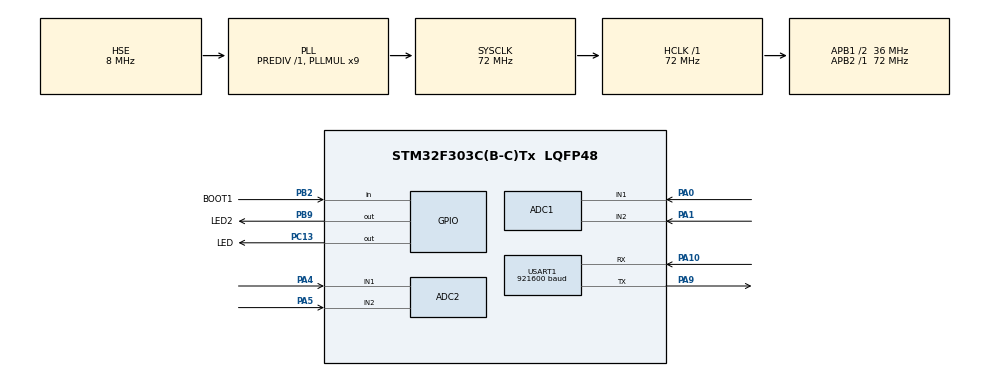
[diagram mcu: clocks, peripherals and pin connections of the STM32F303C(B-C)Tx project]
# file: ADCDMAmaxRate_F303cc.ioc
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ADC1.Channel-0\#ChannelRegularConversion=ADC_CHANNEL_1
ADC1.ContinuousConvMode=ENABLE
ADC1.DMAContinuousRequests=ENABLE
ADC1.EOCSelection=ADC_EOC_SINGLE_CONV
ADC1.EnableInjectedConversion=DISABLE
ADC1.NbrOfConversion=1
ADC1.NbrOfConversionFlag=1
ADC1.Offset-0\#ChannelRegularConversion=0
ADC1.OffsetNumber-0\#ChannelRegularConversion=ADC_OFFSET_NONE
ADC1.Rank-0\#ChannelRegularConversion=1
ADC1.SamplingTime-0\#ChannelRegularConversion=ADC_SAMPLETIME_1CYCLE_5
ADC1.SequencerNbRanks=1
ADC1.SingleDiff-0\#ChannelRegularConversion=ADC_DIFFERENTIAL_ENDED
ADC1.master=1
ADC2.Channel-0\#ChannelRegularConversion=ADC_CHANNEL_1
ADC2.ContinuousConvMode=ENABLE
ADC2.DMAContinuousRequests=ENABLE
ADC2.EnableInjectedConversion=DISABLE
ADC2.NbrOfConversionFlag=1
ADC2.Offset-0\#ChannelRegularConversion=0
ADC2.OffsetNumber-0\#ChannelRegularConversion=ADC_OFFSET_NONE
ADC2.Rank-0\#ChannelRegularConversion=1
ADC2.SamplingTime-0\#ChannelRegularConversion=ADC_SAMPLETIME_1CYCLE_5
ADC2.SingleDiff-0\#ChannelRegularConversion=ADC_DIFFERENTIAL_ENDED
Dma.ADC1.1.Direction=DMA_PERIPH_TO_MEMORY
Dma.ADC1.1.Instance=DMA1_Channel1
Dma.ADC1.1.MemDataAlignment=DMA_MDATAALIGN_HALFWORD
Dma.ADC1.1.MemInc=DMA_MINC_ENABLE
Dma.ADC1.1.Mode=DMA_CIRCULAR
Dma.ADC1.1.PeriphDataAlignment=DMA_PDATAALIGN_HALFWORD
Dma.ADC1.1.PeriphInc=DMA_PINC_DISABLE
Dma.ADC1.1.Priority=DMA_PRIORITY_HIGH
Dma.ADC2.2.Direction=DMA_PERIPH_TO_MEMORY
Dma.ADC2.2.Instance=DMA2_Channel1
Dma.ADC2.2.MemDataAlignment=DMA_MDATAALIGN_HALFWORD
Dma.ADC2.2.MemInc=DMA_MINC_ENABLE
Dma.ADC2.2.Mode=DMA_CIRCULAR
Dma.ADC2.2.PeriphDataAlignment=DMA_PDATAALIGN_HALFWORD
Dma.ADC2.2.PeriphInc=DMA_PINC_DISABLE
Dma.ADC2.2.Priority=DMA_PRIORITY_LOW
Dma.Request0=USART1_TX
Dma.Request1=ADC1
Dma.Request2=ADC2
Dma.USART1_TX.0.Direction=DMA_MEMORY_TO_PERIPH
Dma.USART1_TX.0.Instance=DMA1_Channel4
Dma.USART1_TX.0.MemDataAlignment=DMA_MDATAALIGN_BYTE
Dma.USART1_TX.0.MemInc=DMA_MINC_ENABLE
Dma.USART1_TX.0.Mode=DMA_NORMAL
Dma.USART1_TX.0.PeriphDataAlignment=DMA_PDATAALIGN_BYTE
Dma.USART1_TX.0.PeriphInc=DMA_PINC_DISABLE
Dma.USART1_TX.0.Priority=DMA_PRIORITY_LOW
Mcu.Family=STM32F3
Mcu.Name=STM32F303C(B-C)Tx
Mcu.Package=LQFP48
NVIC.DMA1_Channel1_IRQn=true\:0\:0\:false\:false\:true\:false\:true\:true
NVIC.DMA1_Channel4_IRQn=true\:0\:0\:false\:false\:true\:false\:true\:true
NVIC.DMA2_Channel1_IRQn=true\:0\:0\:false\:false\:true\:false\:true\:true
NVIC.PriorityGroup=NVIC_PRIORITYGROUP_4
PA0.Mode=IN1-Differential
PA0.Signal=ADC1_IN1
PA1.Mode=IN1-Differential
PA1.Signal=ADC1_IN2
PA10.Mode=Asynchronous
PA10.Signal=USART1_RX
PA13.GPIO_Label=SWDIO
PA13.Mode=Serial_Wire
PA13.Signal=SYS_JTMS-SWDIO
PA14.GPIO_Label=SWCLK
PA14.Mode=Serial_Wire
PA14.Signal=SYS_JTCK-SWCLK
PA4.Mode=IN1-Differential
PA4.Signal=ADC2_IN1
PA5.Mode=IN1-Differential
PA5.Signal=ADC2_IN2
PA9.Mode=Asynchronous
PA9.Signal=USART1_TX
PB2.GPIO_Label=BOOT1
PB2.Signal=GPIO_Input
PB9.GPIO_Label=LED2
PB9.GPIO_Speed=GPIO_SPEED_FREQ_LOW
PB9.PinState=GPIO_PIN_SET
PB9.Signal=GPIO_Output
PC13.GPIO_Label=LED
PC13.PinState=GPIO_PIN_SET
PC13.Signal=GPIO_Output
PF0-OSC_IN.Mode=HSE-External-Oscillator
PF0-OSC_IN.Signal=RCC_OSC_IN
PF1-OSC_OUT.Mode=HSE-External-Oscillator
PF1-OSC_OUT.Signal=RCC_OSC_OUT
ProjectManager.HeapSize=0x200
ProjectManager.StackSize=0x400
ProjectManager.TargetToolchain=STM32CubeIDE
RCC.AHBFreq_Value=72000000
RCC.APB1CLKDivider=RCC_HCLK_DIV2
RCC.APB1Freq_Value=36000000
RCC.APB1TimFreq_Value=72000000
RCC.APB2Freq_Value=72000000
RCC.APB2TimFreq_Value=72000000
RCC.CortexFreq_Value=72000000
RCC.EnbaleCSS=true
RCC.HCLKFreq_Value=72000000
RCC.HSE_VALUE=8000000
RCC.HSI_VALUE=8000000
RCC.LSE_VALUE=32768
RCC.PLLMUL=RCC_PLL_MUL9
RCC.PLLSourceVirtual=RCC_PLLSOURCE_HSE
RCC.PRESCALERUSB=RCC_USBCLKSOURCE_PLL_DIV1_5
RCC.SYSCLKFreq_VALUE=72000000
RCC.SYSCLKSourceVirtual=RCC_SYSCLKSOURCE_PLLCLK
RCC.USBFreq_Value=48000000
USART1.BaudRate=921600
USART1.Mode=MODE_TX
USART1.VirtualMode-Asynchronous=VM_ASYNC
board=custom

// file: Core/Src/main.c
/* USER CODE BEGIN Header */
/**
  ******************************************************************************
  * @file           : main.c
  * @brief          : Main program body
  ******************************************************************************
  * @attention
  *
  * Copyright (c) 2022 STMicroelectronics.
  * All rights reserved.
  *
  * This software is licensed under terms that can be found in the LICENSE file
  * in the root directory of this software component.
  * If no LICENSE file comes with this software, it is provided AS-IS.
  *
  ******************************************************************************
  */
/* USER CODE END Header */
#include "main.h"

ADC_HandleTypeDef hadc1;
ADC_HandleTypeDef hadc2;
DMA_HandleTypeDef hdma_adc1;
DMA_HandleTypeDef hdma_adc2;

UART_HandleTypeDef huart1;
DMA_HandleTypeDef hdma_usart1_tx;

/* USER CODE BEGIN PV */
#define ADC_HBUF_SIZE (500)
#define ADC_BUF_SIZE (2*ADC_HBUF_SIZE)

uint16_t adc1_buf[ADC_BUF_SIZE];
uint16_t adc2_buf[ADC_BUF_SIZE];
volatile uint8_t adc1_buf_full_flag = 0;
volatile uint8_t adc2_buf_full_flag = 0;
uint16_t adc1_buf_circ_cnt = 0;
uint16_t adc2_buf_circ_cnt = 0;

/* USER CODE END PV */

void SystemClock_Config(void);
static void MX_GPIO_Init(void);
static void MX_DMA_Init(void);
static void MX_ADC1_Init(void);
static void MX_ADC2_Init(void);
static void MX_USART1_UART_Init(void);

int main(void)
{

  /* MCU Configuration--------------------------------------------------------*/

  /* Reset of all peripherals, Initializes the Flash interface and the Systick. */
  HAL_Init();

  /* Configure the system clock */
  SystemClock_Config();

  /* Initialize all configured peripherals */
  MX_GPIO_Init();
  MX_DMA_Init();
  MX_ADC1_Init();
  MX_ADC2_Init();
  MX_USART1_UART_Init();
  /* USER CODE BEGIN 2 */
  HAL_ADC_Start_DMA(&hadc1, (uint32_t *)adc1_buf, ADC_BUF_SIZE);
  HAL_ADC_Start_DMA(&hadc2, (uint32_t *)adc2_buf, ADC_BUF_SIZE);

  /* USER CODE END 2 */

  /* Infinite loop */
  /* USER CODE BEGIN WHILE */
  while (1)
  {
	  if (adc1_buf_full_flag) {
		  adc1_buf_circ_cnt += adc1_buf_full_flag;
		  adc1_buf_full_flag = 0;
		  if (adc1_buf_circ_cnt > 500) {
			  adc1_buf_circ_cnt -= 500;
			  HAL_GPIO_TogglePin(LED_GPIO_Port, LED_Pin);
		  }
	  }
	  if (adc2_buf_full_flag) {
		  adc2_buf_circ_cnt += adc2_buf_full_flag;
		  adc2_buf_full_flag = 0;
		  if (adc2_buf_circ_cnt > 500) {
			  adc2_buf_circ_cnt -= 500;
			  HAL_GPIO_TogglePin(LED2_GPIO_Port, LED2_Pin);
		  }
	  }
    /* USER CODE END WHILE */

  }
}

void SystemClock_Config(void)
{
  RCC_OscInitTypeDef RCC_OscInitStruct = {0};
  RCC_ClkInitTypeDef RCC_ClkInitStruct = {0};
  RCC_PeriphCLKInitTypeDef PeriphClkInit = {0};

  /** Initializes the RCC Oscillators according to the specified parameters
  * in the RCC_OscInitTypeDef structure.
  */
  RCC_OscInitStruct.OscillatorType = RCC_OSCILLATORTYPE_HSE;
  RCC_OscInitStruct.HSEState = RCC_HSE_ON;
  RCC_OscInitStruct.HSEPredivValue = RCC_HSE_PREDIV_DIV1;
  RCC_OscInitStruct.HSIState = RCC_HSI_ON;
  RCC_OscInitStruct.PLL.PLLState = RCC_PLL_ON;
  RCC_OscInitStruct.PLL.PLLSource = RCC_PLLSOURCE_HSE;
  RCC_OscInitStruct.PLL.PLLMUL = RCC_PLL_MUL9;
  if (HAL_RCC_OscConfig(&RCC_OscInitStruct) != HAL_OK)
  {
    Error_Handler();
  }

  /** Initializes the CPU, AHB and APB buses clocks
  */
  RCC_ClkInitStruct.ClockType = RCC_CLOCKTYPE_HCLK|RCC_CLOCKTYPE_SYSCLK
                              |RCC_CLOCKTYPE_PCLK1|RCC_CLOCKTYPE_PCLK2;
  RCC_ClkInitStruct.SYSCLKSource = RCC_SYSCLKSOURCE_PLLCLK;
  RCC_ClkInitStruct.AHBCLKDivider = RCC_SYSCLK_DIV1;
  RCC_ClkInitStruct.APB1CLKDivider = RCC_HCLK_DIV2;
  RCC_ClkInitStruct.APB2CLKDivider = RCC_HCLK_DIV1;

  if (HAL_RCC_ClockConfig(&RCC_ClkInitStruct, FLASH_LATENCY_2) != HAL_OK)
  {
    Error_Handler();
  }
  PeriphClkInit.PeriphClockSelection = RCC_PERIPHCLK_USART1|RCC_PERIPHCLK_ADC12;
  PeriphClkInit.Usart1ClockSelection = RCC_USART1CLKSOURCE_PCLK2;
  PeriphClkInit.Adc12ClockSelection = RCC_ADC12PLLCLK_DIV1;
  if (HAL_RCCEx_PeriphCLKConfig(&PeriphClkInit) != HAL_OK)
  {
    Error_Handler();
  }

  /** Enables the Clock Security System
  */
  HAL_RCC_EnableCSS();
}

static void MX_ADC1_Init(void)
{

  ADC_MultiModeTypeDef multimode = {0};
  ADC_ChannelConfTypeDef sConfig = {0};

  /** Common config
  */
  hadc1.Instance = ADC1;
  hadc1.Init.ClockPrescaler = ADC_CLOCK_ASYNC_DIV1;
  hadc1.Init.Resolution = ADC_RESOLUTION_12B;
  hadc1.Init.ScanConvMode = ADC_SCAN_DISABLE;
  hadc1.Init.ContinuousConvMode = ENABLE;
  hadc1.Init.DiscontinuousConvMode = DISABLE;
  hadc1.Init.ExternalTrigConvEdge = ADC_EXTERNALTRIGCONVEDGE_NONE;
  hadc1.Init.ExternalTrigConv = ADC_SOFTWARE_START;
  hadc1.Init.DataAlign = ADC_DATAALIGN_RIGHT;
  hadc1.Init.NbrOfConversion = 1;
  hadc1.Init.DMAContinuousRequests = ENABLE;
  hadc1.Init.EOCSelection = ADC_EOC_SINGLE_CONV;
  hadc1.Init.LowPowerAutoWait = DISABLE;
  hadc1.Init.Overrun = ADC_OVR_DATA_OVERWRITTEN;
  if (HAL_ADC_Init(&hadc1) != HAL_OK)
  {
    Error_Handler();
  }

  /** Configure the ADC multi-mode
  */
  multimode.Mode = ADC_MODE_INDEPENDENT;
  if (HAL_ADCEx_MultiModeConfigChannel(&hadc1, &multimode) != HAL_OK)
  {
    Error_Handler();
  }

  /** Configure Regular Channel
  */
  sConfig.Channel = ADC_CHANNEL_1;
  sConfig.Rank = ADC_REGULAR_RANK_1;
  sConfig.SingleDiff = ADC_DIFFERENTIAL_ENDED;
  sConfig.SamplingTime = ADC_SAMPLETIME_1CYCLE_5;
  sConfig.OffsetNumber = ADC_OFFSET_NONE;
  sConfig.Offset = 0;
  if (HAL_ADC_ConfigChannel(&hadc1, &sConfig) != HAL_OK)
  {
    Error_Handler();
  }

}

static void MX_ADC2_Init(void)
{

  ADC_ChannelConfTypeDef sConfig = {0};

  /** Common config
  */
  hadc2.Instance = ADC2;
  hadc2.Init.ClockPrescaler = ADC_CLOCK_ASYNC_DIV1;
  hadc2.Init.Resolution = ADC_RESOLUTION_12B;
  hadc2.Init.ScanConvMode = ADC_SCAN_DISABLE;
  hadc2.Init.ContinuousConvMode = ENABLE;
  hadc2.Init.DiscontinuousConvMode = DISABLE;
  hadc2.Init.ExternalTrigConvEdge = ADC_EXTERNALTRIGCONVEDGE_NONE;
  hadc2.Init.ExternalTrigConv = ADC_SOFTWARE_START;
  hadc2.Init.DataAlign = ADC_DATAALIGN_RIGHT;
  hadc2.Init.NbrOfConversion = 1;
  hadc2.Init.DMAContinuousRequests = ENABLE;
  hadc2.Init.EOCSelection = ADC_EOC_SINGLE_CONV;
  hadc2.Init.LowPowerAutoWait = DISABLE;
  hadc2.Init.Overrun = ADC_OVR_DATA_OVERWRITTEN;
  if (HAL_ADC_Init(&hadc2) != HAL_OK)
  {
    Error_Handler();
  }

  /** Configure Regular Channel
  */
  sConfig.Channel = ADC_CHANNEL_1;
  sConfig.Rank = ADC_REGULAR_RANK_1;
  sConfig.SingleDiff = ADC_DIFFERENTIAL_ENDED;
  sConfig.SamplingTime = ADC_SAMPLETIME_1CYCLE_5;
  sConfig.OffsetNumber = ADC_OFFSET_NONE;
  sConfig.Offset = 0;
  if (HAL_ADC_ConfigChannel(&hadc2, &sConfig) != HAL_OK)
  {
    Error_Handler();
  }

}

static void MX_USART1_UART_Init(void)
{

  huart1.Instance = USART1;
  huart1.Init.BaudRate = 921600;
  huart1.Init.WordLength = UART_WORDLENGTH_8B;
  huart1.Init.StopBits = UART_STOPBITS_1;
  huart1.Init.Parity = UART_PARITY_NONE;
  huart1.Init.Mode = UART_MODE_TX;
  huart1.Init.HwFlowCtl = UART_HWCONTROL_NONE;
  huart1.Init.OverSampling = UART_OVERSAMPLING_16;
  huart1.Init.OneBitSampling = UART_ONE_BIT_SAMPLE_DISABLE;
  huart1.AdvancedInit.AdvFeatureInit = UART_ADVFEATURE_NO_INIT;
  if (HAL_UART_Init(&huart1) != HAL_OK)
  {
    Error_Handler();
  }

}

static void MX_DMA_Init(void)
{

  /* DMA controller clock enable */
  __HAL_RCC_DMA1_CLK_ENABLE();
  __HAL_RCC_DMA2_CLK_ENABLE();

  /* DMA interrupt init */
  /* DMA1_Channel1_IRQn interrupt configuration */
  HAL_NVIC_SetPriority(DMA1_Channel1_IRQn, 0, 0);
  HAL_NVIC_EnableIRQ(DMA1_Channel1_IRQn);
  /* DMA1_Channel4_IRQn interrupt configuration */
  HAL_NVIC_SetPriority(DMA1_Channel4_IRQn, 0, 0);
  HAL_NVIC_EnableIRQ(DMA1_Channel4_IRQn);
  /* DMA2_Channel1_IRQn interrupt configuration */
  HAL_NVIC_SetPriority(DMA2_Channel1_IRQn, 0, 0);
  HAL_NVIC_EnableIRQ(DMA2_Channel1_IRQn);

}

static void MX_GPIO_Init(void)
{
  GPIO_InitTypeDef GPIO_InitStruct = {0};

  /* GPIO Ports Clock Enable */
  __HAL_RCC_GPIOC_CLK_ENABLE();
  __HAL_RCC_GPIOF_CLK_ENABLE();
  __HAL_RCC_GPIOA_CLK_ENABLE();
  __HAL_RCC_GPIOB_CLK_ENABLE();

  /*Configure GPIO pin Output Level */
  HAL_GPIO_WritePin(LED_GPIO_Port, LED_Pin, GPIO_PIN_SET);

  /*Configure GPIO pin Output Level */
  HAL_GPIO_WritePin(LED2_GPIO_Port, LED2_Pin, GPIO_PIN_SET);

  /*Configure GPIO pin : LED_Pin */
  GPIO_InitStruct.Pin = LED_Pin;
  GPIO_InitStruct.Mode = GPIO_MODE_OUTPUT_PP;
  GPIO_InitStruct.Pull = GPIO_NOPULL;
  GPIO_InitStruct.Speed = GPIO_SPEED_FREQ_LOW;
  HAL_GPIO_Init(LED_GPIO_Port, &GPIO_InitStruct);

  /*Configure GPIO pin : BOOT1_Pin */
  GPIO_InitStruct.Pin = BOOT1_Pin;
  GPIO_InitStruct.Mode = GPIO_MODE_INPUT;
  GPIO_InitStruct.Pull = GPIO_NOPULL;
  HAL_GPIO_Init(BOOT1_GPIO_Port, &GPIO_InitStruct);

  /*Configure GPIO pin : LED2_Pin */
  GPIO_InitStruct.Pin = LED2_Pin;
  GPIO_InitStruct.Mode = GPIO_MODE_OUTPUT_PP;
  GPIO_InitStruct.Pull = GPIO_NOPULL;
  GPIO_InitStruct.Speed = GPIO_SPEED_FREQ_LOW;
  HAL_GPIO_Init(LED2_GPIO_Port, &GPIO_InitStruct);

}

/* USER CODE BEGIN 4 */
void HAL_ADC_ConvCpltCallback(ADC_HandleTypeDef* hadc)
{
	if (hadc->Instance == ADC1) {
		adc1_buf_full_flag++;
	}
	if (hadc->Instance == ADC2) {
		adc2_buf_full_flag++;
	}
}

/* USER CODE END 4 */

void Error_Handler(void)
{
  __disable_irq();
  while (1)
  {
  }
}
